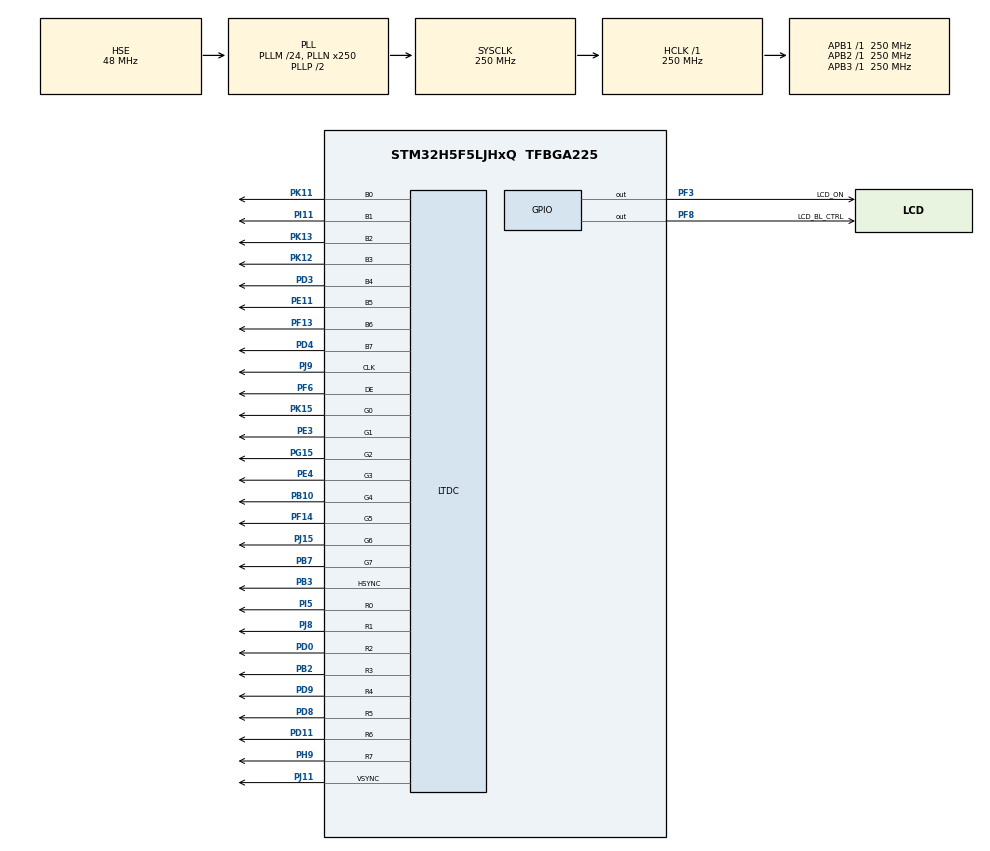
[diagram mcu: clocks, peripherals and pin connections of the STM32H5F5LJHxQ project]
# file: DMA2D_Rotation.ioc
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BOOTPATH.BootPathName=LEGACY
BOOTPATH.UserSelectedBootPath=LEGACY
CORTEX_M33_NS.userName=CORTEX_M33
DMA2D.AlphaModeBackground=DMA2D_NO_MODIF_ALPHA
DMA2D.AlphaModeForeground=DMA2D_NO_MODIF_ALPHA
DMA2D.ColorMode=DMA2D_OUTPUT_ARGB4444
DMA2D.InputAlphaBackground=255
DMA2D.InputAlphaForeground=255
DMA2D.InputColorModeBackground=DMA2D_INPUT_ARGB4444
DMA2D.InputColorModeForeground=DMA2D_INPUT_ARGB4444
DMA2D.LineOffsetMode=DMA2D_LOM_BYTES
DMA2D.Mode=DMA2D_M2M_BLEND
LTDC.ActiveH=ST1633I_VSYNC + ST1633I_HEIGHT + ST1633I_VBP -1U
LTDC.ActiveW=ST1633I_HSYNC + ST1633I_WIDTH + ST1633I_HBP -1U
LTDC.Alpha_L0=255
LTDC.BlendingFactor1_L0=LTDC_BLENDING_FACTOR1_PAxCA
LTDC.BlendingFactor2_L0=LTDC_BLENDING_FACTOR2_PAxCA
LTDC.FBStartAdress_L0=LCD_FRAME_BUFFER
LTDC.HBP=ST1633I_HSYNC + ST1633I_HBP - 1U
LTDC.HFP=ST1633I_HSYNC + ST1633I_WIDTH + ST1633I_HBP + ST1633I_HFP - 1U
LTDC.HSync=ST1633I_HSYNC - 1U
LTDC.ImageHeight_L0=270
LTDC.ImageWidth_L0=270
LTDC.Layers=0
LTDC.PixelFormat_L0=LTDC_PIXEL_FORMAT_ARGB4444
LTDC.VBP=ST1633I_VSYNC + ST1633I_VBP - 1U
LTDC.VFP=ST1633I_VSYNC + ST1633I_HEIGHT + ST1633I_VBP + ST1633I_VFP - 1U
LTDC.VSync=ST1633I_VSYNC - 1U
LTDC.WindowX0_L0=104
LTDC.WindowX1_L0=376
LTDC.WindowY0_L0=1
LTDC.WindowY1_L0=271
Mcu.Family=STM32H5
Mcu.Name=STM32H5F5LJHxQ
Mcu.Package=TFBGA225
Mcu.UserConstants=ST1633I_VBP,7;LCD_FRAME_BUFFER,0x20015000;ST1633I_HBP,43;ST1633I_VSYNC,4;ST1633I_VFP,8;ST1633I_HEIGHT,272;ST1633I_HFP,0;ST1633I_WIDTH,480;ST1633I_HSYNC,4
NVIC.PriorityGroup=NVIC_PRIORITYGROUP_4
PB10.Mode=RGB888
PB10.Signal=LTDC_G4
PB2.Mode=RGB888
PB2.Signal=LTDC_R3
PB3\ (JTDO/TRACESWO).Mode=RGB888
PB3\ (JTDO/TRACESWO).Signal=LTDC_HSYNC
PB7.Mode=RGB888
PB7.Signal=LTDC_G7
PD0.Mode=RGB888
PD0.Signal=LTDC_R2
PD11.Mode=RGB888
PD11.Signal=LTDC_R6
PD3.Mode=RGB888
PD3.Signal=LTDC_B4
PD4.Mode=RGB888
PD4.Signal=LTDC_B7
PD8.Mode=RGB888
PD8.Signal=LTDC_R5
PD9.Mode=RGB888
PD9.Signal=LTDC_R4
PE11.Mode=RGB888
PE11.Signal=LTDC_B5
PE3.Mode=RGB888
PE3.Signal=LTDC_G1
PE4.Mode=RGB888
PE4.Signal=LTDC_G3
PF13.Mode=RGB888
PF13.Signal=LTDC_B6
PF14.Mode=RGB888
PF14.Signal=LTDC_G5
PF3.GPIO_Label=LCD_ON
PF3.PinState=GPIO_PIN_SET
PF3.Signal=GPIO_Output
PF6.Mode=RGB888
PF6.Signal=LTDC_DE
PF8.GPIO_Label=LCD_BL_CTRL
PF8.PinState=GPIO_PIN_SET
PF8.Signal=GPIO_Output
PG15.Mode=RGB888
PG15.Signal=LTDC_G2
PH0-OSC_IN(PH0).Mode=HSE-External-Oscillator
PH0-OSC_IN(PH0).Signal=RCC_OSC_IN
PH1-OSC_OUT(PH1).Mode=HSE-External-Oscillator
PH1-OSC_OUT(PH1).Signal=RCC_OSC_OUT
PH9.Mode=RGB888
PH9.Signal=LTDC_R7
PI11.Mode=RGB888
PI11.Signal=LTDC_B1
PI5.Mode=RGB888
PI5.Signal=LTDC_R0
PJ11.Mode=RGB888
PJ11.Signal=LTDC_VSYNC
PJ15.Mode=RGB888
PJ15.Signal=LTDC_G6
PJ8.Mode=RGB888
PJ8.Signal=LTDC_R1
PJ9.Mode=RGB888
PJ9.Signal=LTDC_CLK
PK11.Mode=RGB888
PK11.Signal=LTDC_B0
PK12.Mode=RGB888
PK12.Signal=LTDC_B3
PK13.Mode=RGB888
PK13.Signal=LTDC_B2
PK15.Mode=RGB888
PK15.Signal=LTDC_G0
ProjectManager.HeapSize=0x200
ProjectManager.StackSize=0x1000
ProjectManager.TargetToolchain=EWARM V9.20
RCC.ADCFreq_Value=250000000
RCC.AHBFreq_Value=250000000
RCC.APB1Freq_Value=250000000
RCC.APB1TimFreq_Value=250000000
RCC.APB2Freq_Value=250000000
RCC.APB2TimFreq_Value=250000000
RCC.APB3Freq_Value=250000000
RCC.CSI_VALUE=4000000
RCC.CortexFreq_Value=250000000
RCC.EPOD_VALUE=48000000
RCC.HCLKFreq_Value=250000000
RCC.HSE_VALUE=48000000
RCC.HSI48_VALUE=48000000
RCC.HSI_VALUE=64000000
RCC.LSE_VALUE=32768
RCC.LSIRC_VALUE=32000
RCC.PLL2FRACN=0
RCC.PLL2M=40
RCC.PLL2R=16
RCC.PLL2Source=RCC_PLL2_SOURCE_HSE
RCC.PLL3M=4
RCC.PLL3R=16
RCC.PLL3Source=RCC_PLL3_SOURCE_HSE
RCC.PLLFRACN=0
RCC.PLLM=24
RCC.PLLN=250
RCC.PLLSourceVirtual=RCC_PLL1_SOURCE_HSE
RCC.SYSCLKFreq_VALUE=250000000
RCC.SYSCLKSource=RCC_SYSCLKSOURCE_PLLCLK
RCC.USBFreq_Value=774000000
RCC.VCOOutputFreq_Value=500000000
VP_BOOTPATH_VS_BOOTPATH.Mode=BP_Activate
VP_CORTEX_M33_NS_VS_Hclk.Mode=Hclk_Mode
VP_DMA2D_VS_DMA2D.Mode=DMA2D_Activate
VP_ICACHE_VS_ICACHE.Mode=DefaultMode
VP_PWR_VS_LPOM.Mode=PowerOptimisation
VP_PWR_VS_SECSignals.Mode=Security/Privilege
board=custom

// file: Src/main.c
/* USER CODE BEGIN Header */
/**
  ******************************************************************************
  * @file           : main.c
  * @brief          : Main program body
  ******************************************************************************
  * @attention
  *
  * Copyright (c) 2025 STMicroelectronics.
  * All rights reserved.
  *
  * This software is licensed under terms that can be found in the LICENSE file
  * in the root directory of this software component.
  * If no LICENSE file comes with this software, it is provided AS-IS.
  *
  ******************************************************************************
  */
/* USER CODE END Header */
#include "main.h"

DMA2D_HandleTypeDef hdma2d;

LTDC_HandleTypeDef hltdc;

/* USER CODE BEGIN PV */
__IO  static uint8_t useInverse = 0;
/* USER CODE END PV */

void SystemClock_Config(void);
static void MX_GPIO_Init(void);
static void MX_DMA2D_Init(void);
static void MX_ICACHE_Init(void);
static void MX_LTDC_Init(void);

/* USER CODE BEGIN 0 */
  const uint32_t imgW = 270, imgH = 270;

  /* Rotation and inverted-sense rotation tables */
  const uint32_t rotations[4] =
  {
    DMA2D_NO_ROTATION,
    DMA2D_ROTATE_90,
    DMA2D_ROTATE_180,
    DMA2D_ROTATE_270,
  };

  const uint32_t rotations_inverse[4] =
  {
    DMA2D_NO_ROTATION_FLIP,
    DMA2D_ROTATE_90_FLIP,
    DMA2D_ROTATE_180_FLIP,
    DMA2D_ROTATE_270_FLIP,
  };

  const uint32_t *Compass_Needle[3] =
  {
    CompassNeedle,
    CompassNeedle_Rot30,
    CompassNeedle_Rot60,
  };
/* USER CODE END 0 */

int main(void)
{

  /* MCU Configuration--------------------------------------------------------*/

  /* Reset of all peripherals, Initializes the Flash interface and the Systick. */
  HAL_Init();

  /* Configure the system clock */
  SystemClock_Config();

  /* USER CODE BEGIN SysInit */
  BSP_PB_Init(BUTTON_USER, BUTTON_MODE_EXTI);
  /* USER CODE END SysInit */

  /* Initialize all configured peripherals */
  MX_GPIO_Init();
  MX_DMA2D_Init();
  MX_ICACHE_Init();
  MX_LTDC_Init();

  /* Infinite loop */
  /* USER CODE BEGIN WHILE */
  while (1)
  {
    for (uint32_t r = 0; r < 4; r++)
    {
      /* Pick the active rotation table */
      const uint32_t* active = useInverse ? rotations_inverse : rotations;

      /* Configure DMA2D Rotation for the selected source */
      HAL_DMA2D_ConfigRotation(&hdma2d, DMA2D_SOURCE_FOREGROUND, active[r]);

      for(uint32_t i=0;i<3;i++)
      {
        if(HAL_DMA2D_BlendingStart(&hdma2d, (uint32_t)Compass_Needle[i], (uint32_t)CompassDial, LCD_FRAME_BUFFER, imgW, imgH)!= HAL_OK) { Error_Handler(); }
        if (HAL_DMA2D_PollForTransfer(&hdma2d, 1000) != HAL_OK) { Error_Handler(); }
        HAL_Delay(100);
      }
    }
  }

    /* USER CODE END WHILE */

}

void SystemClock_Config(void)
{
  RCC_OscInitTypeDef RCC_OscInitStruct = {0};
  RCC_ClkInitTypeDef RCC_ClkInitStruct = {0};

  /** Configure the main internal regulator output voltage
  */
  __HAL_PWR_VOLTAGESCALING_CONFIG(PWR_REGULATOR_VOLTAGE_SCALE0);

  while(!__HAL_PWR_GET_FLAG(PWR_FLAG_VOSRDY)) {}

  /** Initializes the RCC Oscillators according to the specified parameters
  * in the RCC_OscInitTypeDef structure.
  */
  RCC_OscInitStruct.OscillatorType = RCC_OSCILLATORTYPE_HSE;
  RCC_OscInitStruct.HSEState = RCC_HSE_ON;
  RCC_OscInitStruct.PLL.PLLState = RCC_PLL_ON;
  RCC_OscInitStruct.PLL.PLLSource = RCC_PLL1_SOURCE_HSE;
  RCC_OscInitStruct.PLL.PLLM = 24;
  RCC_OscInitStruct.PLL.PLLN = 250;
  RCC_OscInitStruct.PLL.PLLP = 2;
  RCC_OscInitStruct.PLL.PLLQ = 2;
  RCC_OscInitStruct.PLL.PLLR = 2;
  RCC_OscInitStruct.PLL.PLLRGE = RCC_PLL1_VCIRANGE_1;
  RCC_OscInitStruct.PLL.PLLVCOSEL = RCC_PLL1_VCORANGE_WIDE;
  RCC_OscInitStruct.PLL.PLLFRACN = 0;
  if (HAL_RCC_OscConfig(&RCC_OscInitStruct) != HAL_OK)
  {
    Error_Handler();
  }

  /** Initializes the CPU, AHB and APB buses clocks
  */
  RCC_ClkInitStruct.ClockType = RCC_CLOCKTYPE_HCLK|RCC_CLOCKTYPE_SYSCLK
                              |RCC_CLOCKTYPE_PCLK1|RCC_CLOCKTYPE_PCLK2
                              |RCC_CLOCKTYPE_PCLK3;
  RCC_ClkInitStruct.SYSCLKSource = RCC_SYSCLKSOURCE_PLLCLK;
  RCC_ClkInitStruct.AHBCLKDivider = RCC_SYSCLK_DIV1;
  RCC_ClkInitStruct.APB1CLKDivider = RCC_HCLK_DIV1;
  RCC_ClkInitStruct.APB2CLKDivider = RCC_HCLK_DIV1;
  RCC_ClkInitStruct.APB3CLKDivider = RCC_HCLK_DIV1;

  if (HAL_RCC_ClockConfig(&RCC_ClkInitStruct, FLASH_LATENCY_5) != HAL_OK)
  {
    Error_Handler();
  }

  /** Configure the programming delay
  */
  __HAL_FLASH_SET_PROGRAM_DELAY(FLASH_PROGRAMMING_DELAY_2);
}

static void MX_DMA2D_Init(void)
{

  hdma2d.Instance = DMA2D;
  hdma2d.Init.Mode = DMA2D_M2M_BLEND;
  hdma2d.Init.ColorMode = DMA2D_OUTPUT_ARGB4444;
  hdma2d.Init.OutputOffset = 0;
  hdma2d.Init.BytesSwap = DMA2D_BYTES_REGULAR;
  hdma2d.Init.LineOffsetMode = DMA2D_LOM_BYTES;
  hdma2d.LayerCfg[1].InputOffset = 0;
  hdma2d.LayerCfg[1].InputColorMode = DMA2D_INPUT_ARGB4444;
  hdma2d.LayerCfg[1].AlphaMode = DMA2D_NO_MODIF_ALPHA;
  hdma2d.LayerCfg[1].InputAlpha = 255;
  hdma2d.LayerCfg[1].AlphaInverted = DMA2D_REGULAR_ALPHA;
  hdma2d.LayerCfg[1].RedBlueSwap = DMA2D_RB_REGULAR;
  hdma2d.LayerCfg[1].ChromaSubSampling = DMA2D_NO_CSS;
  hdma2d.LayerCfg[0].InputOffset = 0;
  hdma2d.LayerCfg[0].InputColorMode = DMA2D_INPUT_ARGB4444;
  hdma2d.LayerCfg[0].AlphaMode = DMA2D_NO_MODIF_ALPHA;
  hdma2d.LayerCfg[0].InputAlpha = 255;
  hdma2d.LayerCfg[0].AlphaInverted = DMA2D_REGULAR_ALPHA;
  hdma2d.LayerCfg[0].RedBlueSwap = DMA2D_RB_REGULAR;
  if (HAL_DMA2D_Init(&hdma2d) != HAL_OK)
  {
    Error_Handler();
  }
  if (HAL_DMA2D_ConfigLayer(&hdma2d, 0) != HAL_OK)
  {
    Error_Handler();
  }
  if (HAL_DMA2D_ConfigLayer(&hdma2d, 1) != HAL_OK)
  {
    Error_Handler();
  }

}

static void MX_ICACHE_Init(void)
{

  /** Enable instruction cache (default 2-ways set associative cache)
  */
  if (HAL_ICACHE_Enable() != HAL_OK)
  {
    Error_Handler();
  }

}

static void MX_LTDC_Init(void)
{

  LTDC_LayerCfgTypeDef pLayerCfg = {0};

  hltdc.Instance = LTDC;
  hltdc.Init.HSPolarity = LTDC_HSPOLARITY_AL;
  hltdc.Init.VSPolarity = LTDC_VSPOLARITY_AL;
  hltdc.Init.DEPolarity = LTDC_DEPOLARITY_AL;
  hltdc.Init.PCPolarity = LTDC_PCPOLARITY_IPC;
  hltdc.Init.HorizontalSync = ST1633I_HSYNC - 1U;
  hltdc.Init.VerticalSync = ST1633I_VSYNC - 1U;
  hltdc.Init.AccumulatedHBP = ST1633I_HSYNC + ST1633I_HBP - 1U;
  hltdc.Init.AccumulatedVBP = ST1633I_VSYNC + ST1633I_VBP - 1U;
  hltdc.Init.AccumulatedActiveW = ST1633I_HSYNC + ST1633I_WIDTH + ST1633I_HBP -1U;
  hltdc.Init.AccumulatedActiveH = ST1633I_VSYNC + ST1633I_HEIGHT + ST1633I_VBP -1U;
  hltdc.Init.TotalWidth = ST1633I_HSYNC + ST1633I_WIDTH + ST1633I_HBP + ST1633I_HFP - 1U;
  hltdc.Init.TotalHeigh = ST1633I_VSYNC + ST1633I_HEIGHT + ST1633I_VBP + ST1633I_VFP - 1U;
  hltdc.Init.Backcolor.Blue = 0;
  hltdc.Init.Backcolor.Green = 0;
  hltdc.Init.Backcolor.Red = 0;
  if (HAL_LTDC_Init(&hltdc) != HAL_OK)
  {
    Error_Handler();
  }
  pLayerCfg.WindowX0 = 104;
  pLayerCfg.WindowX1 = 376;
  pLayerCfg.WindowY0 = 1;
  pLayerCfg.WindowY1 = 271;
  pLayerCfg.PixelFormat = LTDC_PIXEL_FORMAT_ARGB4444;
  pLayerCfg.Alpha = 255;
  pLayerCfg.Alpha0 = 0;
  pLayerCfg.BlendingFactor1 = LTDC_BLENDING_FACTOR1_PAxCA;
  pLayerCfg.BlendingFactor2 = LTDC_BLENDING_FACTOR2_PAxCA;
  pLayerCfg.FBStartAdress = LCD_FRAME_BUFFER;
  pLayerCfg.ImageWidth = 270;
  pLayerCfg.ImageHeight = 270;
  pLayerCfg.Backcolor.Blue = 0;
  pLayerCfg.Backcolor.Green = 0;
  pLayerCfg.Backcolor.Red = 0;
  if (HAL_LTDC_ConfigLayer(&hltdc, &pLayerCfg, 0) != HAL_OK)
  {
    Error_Handler();
  }

}

static void MX_GPIO_Init(void)
{
  GPIO_InitTypeDef GPIO_InitStruct = {0};

  /* GPIO Ports Clock Enable */
  __HAL_RCC_GPIOF_CLK_ENABLE();
  __HAL_RCC_GPIOH_CLK_ENABLE();

  /*Configure GPIO pin Output Level */
  HAL_GPIO_WritePin(GPIOF, LCD_BL_CTRL_Pin|LCD_ON_Pin, GPIO_PIN_SET);

  /*Configure GPIO pins : LCD_BL_CTRL_Pin LCD_ON_Pin */
  GPIO_InitStruct.Pin = LCD_BL_CTRL_Pin|LCD_ON_Pin;
  GPIO_InitStruct.Mode = GPIO_MODE_OUTPUT_PP;
  GPIO_InitStruct.Pull = GPIO_NOPULL;
  GPIO_InitStruct.Speed = GPIO_SPEED_FREQ_LOW;
  HAL_GPIO_Init(GPIOF, &GPIO_InitStruct);

}

/* USER CODE BEGIN 4 */
/**
  * @brief  Button Callback
  * @param  Button Specifies the pin connected EXTI line
  * @retval None
  */
void BSP_PB_Callback(Button_TypeDef Button)
{
  useInverse ^= 1;
  //UserButtonPressed = SET;
}
/* USER CODE END 4 */

void Error_Handler(void)
{
  __disable_irq();
  while (1)
  {
  }
}
